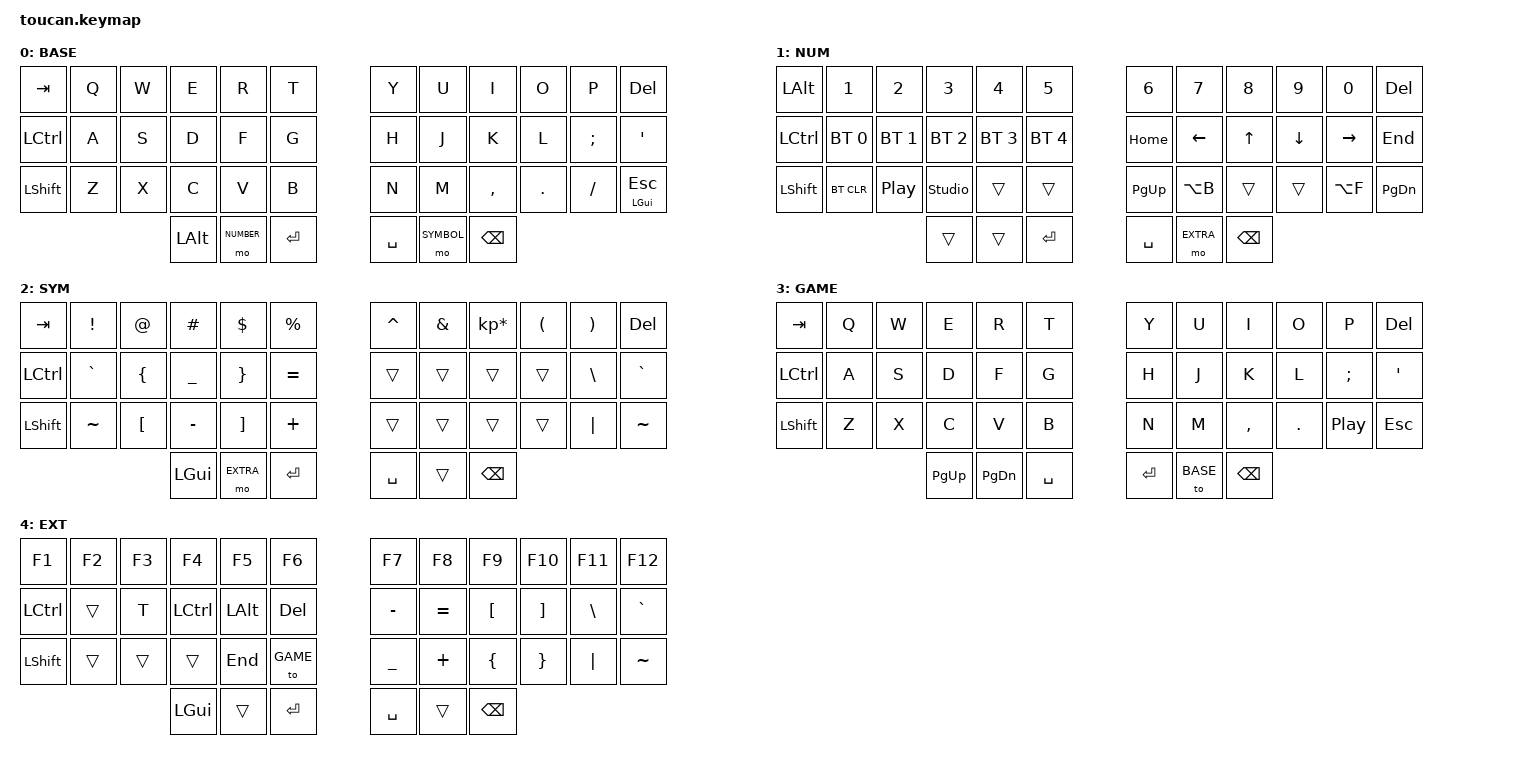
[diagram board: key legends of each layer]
#include <behaviors.dtsi>
#include <dt-bindings/zmk/keys.h>
#include <dt-bindings/zmk/bt.h>
#include <dt-bindings/zmk/outputs.h>

#define BASE   0
#define NUMBER 1
#define SYMBOL 2
#define GAME   3
#define EXTRA  4

/ {
    keymap {
        compatible = "zmk,keymap";

        base {
            display-name = "BASE";

            // -----------------------------------------------------------------------------------------
            // |  TAB |  Q  |  W  |  E  |  R  |  T  |   |  Y  |  U   |  I  |  O  |  P  | DEL  |
            // | CTRL |  A  |  S  |  D  |  F  |  G  |   |  H  |  J   |  K  |  L  |  ;  |  '   |
            // | SHFT |  Z  |  X  |  C  |  V  |  B  |   |  N  |  M   |  ,  |  .  |  /  | ESC  |
            //                    | ALT | NUM | ENT |   | SPC | SYM  | BKSP |

            bindings = <
&kp TAB    &kp Q  &kp W  &kp E         &kp R      &kp T      &kp Y      &kp U       &kp I      &kp O    &kp P     &kp DEL
&kp LCTRL  &kp A  &kp S  &kp D         &kp F      &kp G      &kp H      &kp J       &kp K      &kp L    &kp SEMI  &kp SQT
&kp LSHFT  &kp Z  &kp X  &kp C         &kp V      &kp B      &kp N      &kp M       &kp COMMA  &kp DOT  &kp FSLH  &mt LEFT_GUI ESC
                         &kp LEFT_ALT  &mo NUMBER &kp RET    &kp SPACE  &mo SYMBOL  &kp BSPC
            >;
        };

        lower_layer {
            display-name = "NUM";

            // -----------------------------------------------------------------------------------------
            // |  ALT |  1  |  2  |  3  |  4  |  5  |   |  6  |  7  |  8  |  9  |  0  | DEL  |
            // | CTRL | BT1 | BT2 | BT3 | BT4 | BT5 |   | HOME| LFT |  UP | DWN | RGT | END  |
            // | SHFT | BTCLR|PLAY|UNLK |     |     |   | PGUP| A-B |     |     | A-F | PGDN |
            //                    |     |     | ENT |   | SPC |EXTRA| BKSP |

            bindings = <
&kp LEFT_ALT  &kp N1        &kp N2        &kp N3        &kp N4        &kp N5          &kp N6     &kp N7     &kp N8    &kp N9    &kp N0     &kp DEL
&kp LCTRL     &bt BT_SEL 0  &bt BT_SEL 1  &bt BT_SEL 2  &bt BT_SEL 3  &bt BT_SEL 4    &kp HOME   &kp LEFT   &kp UP    &kp DOWN  &kp RIGHT  &kp END
&kp LSHFT     &bt BT_CLR    &kp C_PP      &studio_unlock  &trans      &trans          &kp PG_UP  &kp LA(B)  &trans    &trans    &kp LA(F)  &kp PG_DN
                                          &trans        &trans        &kp RET         &kp SPACE  &mo EXTRA  &kp BSPC
            >;
        };

        raise_layer {
            display-name = "SYM";

            // -----------------------------------------------------------------------------------------
            // |  TAB |  !  |  @  |  #  |  $  |  %  |   |  ^  |  &  |  *  |  (  |  )  | DEL  |
            // | CTRL |  `  |  {  |  _  |  }  |  =  |   |     |     |     |     |  \  |  `   |
            // | SHFT |  ~  |  [  |  -  |  ]  |  +  |   |     |     |     |     | "|" |  ~   |
            //                    | GUI |EXTRA| ENT |   | SPC |     | BKSP |

            bindings = <
&kp TAB    &kp EXCL   &kp AT    &kp HASH   &kp DLLR  &kp PRCNT    &kp CARET  &kp AMPS  &kp KP_MULTIPLY  &kp LPAR  &kp RPAR  &kp DEL
&kp LCTRL  &kp GRAVE  &kp LBRC  &kp UNDER  &kp RBRC  &kp EQUAL    &trans     &trans    &trans           &trans    &kp BSLH  &kp GRAVE
&kp LSHFT  &kp TILDE  &kp LBKT  &kp MINUS  &kp RBKT  &kp PLUS     &trans     &trans    &trans           &trans    &kp PIPE  &kp TILDE
                                &kp LGUI   &mo EXTRA &kp RET      &kp SPACE  &trans    &kp BSPC
            >;
        };

        game_layer {
            display-name = "GAME";

            // -----------------------------------------------------------------------------------------
            // |  TAB |  Q  |  W  |  E  |  R  |  T  |   |  Y  |  U   |  I  |  O  |  P  | DEL  |
            // | CTRL |  A  |  S  |  D  |  F  |  G  |   |  H  |  J   |  K  |  L  |  ;  |  '   |
            // | SHFT |  Z  |  X  |  C  |  V  |  B  |   |  N  |  M   |  ,  |  .  |PLAY | ESC  |
            //                    | PGUP | PGDN | SPC |   | ENT | TO-0  | BKSP |

            bindings = <
&kp TAB    &kp Q  &kp W  &kp E      &kp R      &kp T        &kp Y    &kp U  &kp I      &kp O    &kp P             &kp DEL
&kp LCTRL  &kp A  &kp S  &kp D      &kp F      &kp G        &kp H    &kp J  &kp K      &kp L    &kp SEMI          &kp SQT
&kp LSHFT  &kp Z  &kp X  &kp C      &kp V      &kp B        &kp N    &kp M  &kp COMMA  &kp DOT  &kp C_PLAY_PAUSE  &kp ESC
                         &kp PG_UP  &kp PG_DN  &kp SPACE    &kp RET  &to BASE  &kp BSPC
            >;
        };

        extra_layer {
            display-name = "EXT";

            // -----------------------------------------------------------------------------------------
            // |  F1  |  F2 |  F3 | F4  | F5  | F6  |   | F7  | F8  | F9  | F10 | F11 | F12  |
            // | CTRL |     |  T  | CTRL| ALT | DEL |   |  -  |  =  |  [  |  ]  |  \  |  `   |
            // | SHFT |     |     |     | END |TO-GM|   |  _  |  +  |  {  |  }  | "|" |  ~   |
            //                    | GUI |     | ENT |   | SPC |     | BKSP |

            bindings = <
&kp F1     &kp F2  &kp F3  &kp F4        &kp F5    &kp F6     &kp F7     &kp F8     &kp F9    &kp F10   &kp F11   &kp F12
&kp LCTRL  &trans  &kp T   &kp LCTRL     &kp LALT  &kp DEL    &kp MINUS  &kp EQUAL  &kp LBKT  &kp RBKT  &kp BSLH  &kp GRAVE
&kp LSHFT  &trans  &trans  &trans        &kp END   &to GAME   &kp UNDER  &kp PLUS   &kp LBRC  &kp RBRC  &kp PIPE  &kp TILDE
                           &kp LEFT_GUI  &trans    &kp RET    &kp SPACE  &trans     &kp BSPC
            >;
        };
    };
};
